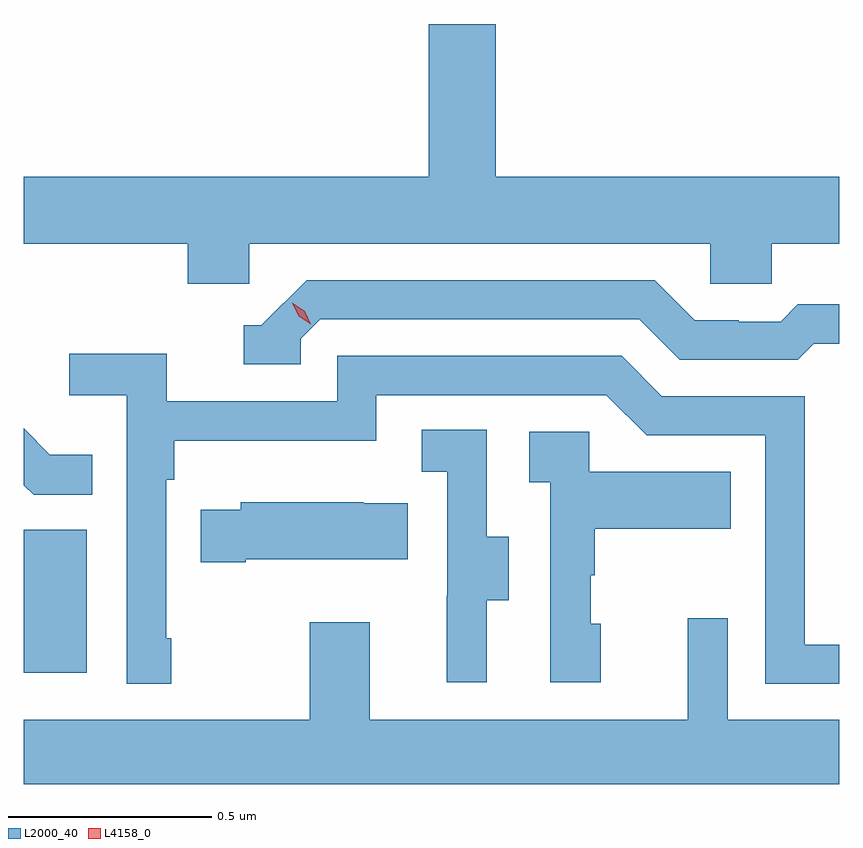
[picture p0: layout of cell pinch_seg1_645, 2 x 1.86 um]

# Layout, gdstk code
import gdstk
lib = gdstk.Library(unit=1e-6, precision=1e-09)
def R(c, l, rs):  # rectangles x0, y0, x1, y1
    for r in rs: c.add(gdstk.rectangle(r[:2], r[2:], *l))
def P(c, l, *ps):  # polygons
    for p in ps: c.add(gdstk.Polygon(p, *l))
L2000_40 = (2000, 40)
L4158_0 = (4158, 0)

pinch_seg1_645 = lib.new_cell('pinch_seg1_645')
R(pinch_seg1_645, L2000_40, [(1099.079,521.376,1099.234,521.727)])
P(pinch_seg1_645, L2000_40, [(1099.632,522.428),(1100.763,522.428),(1100.763,522.33),(1100.913,522.33),(1100.913,522.428),(1101.079,522.428),(1101.079,522.592),(1100.236,522.592),(1100.236,522.967),(1100.072,522.967),(1100.072,522.592),(1099.079,522.592),(1099.079,522.428),(1099.481,522.428),(1099.481,522.33),(1099.632,522.33)],
  [(1099.758,522.195),(1099.806,522.243),(1100.589,522.243),(1100.688,522.144),(1100.977,522.144),(1101.016,522.183),(1101.079,522.183),(1101.079,522.28),(1100.977,522.28),(1100.935,522.237),(1100.832,522.237),(1100.832,522.24),(1100.725,522.24),(1100.626,522.339),(1099.773,522.339),(1099.662,522.228),(1099.619,522.228),(1099.619,522.132),(1099.758,522.132)],
  [(1099.441,521.461),(1099.428,521.461),(1099.428,521.849),(1099.448,521.849),(1099.448,521.945),(1099.944,521.945),(1099.944,522.057),(1100.508,522.057),(1100.607,521.958),(1100.898,521.958),(1100.898,521.349),(1101.079,521.349),(1101.079,521.445),(1100.994,521.445),(1100.994,522.054),(1100.644,522.054),(1100.545,522.153),(1099.848,522.153),(1099.848,522.042),(1099.43,522.042),(1099.43,522.158),(1099.191,522.158),(1099.191,522.056),(1099.332,522.056),(1099.332,521.349),(1099.441,521.349)],
  [(1099.247,521.911),(1099.143,521.911),(1099.079,521.975),(1099.079,521.836),(1099.103,521.812),(1099.247,521.812)],
  [(1100.215,521.554),(1100.269,521.554),(1100.269,521.709),(1100.214,521.709),(1100.214,521.972),(1100.055,521.972),(1100.055,521.869),(1100.118,521.869),(1100.118,521.565),(1100.117,521.565),(1100.117,521.352),(1100.215,521.352)],
  [(1100.494,521.496),(1100.469,521.496),(1100.469,521.615),(1100.479,521.615),(1100.479,521.729),(1100.813,521.729),(1100.813,521.869),(1100.466,521.869),(1100.466,521.967),(1100.319,521.967),(1100.319,521.843),(1100.37,521.843),(1100.37,521.352),(1100.494,521.352)],
  [(1099.624,521.654),(1100.021,521.654),(1100.021,521.791),(1099.913,521.791),(1099.913,521.794),(1099.611,521.794),(1099.611,521.776),(1099.513,521.776),(1099.513,521.647),(1099.624,521.647)],
  [(1101.079,521.26),(1100.805,521.26),(1100.805,521.509),(1100.708,521.509),(1100.708,521.26),(1099.927,521.26),(1099.927,521.5),(1099.78,521.5),(1099.78,521.26),(1099.079,521.26),(1099.079,521.103),(1101.079,521.103)])
P(pinch_seg1_645, L4158_0, [(1099.783,522.23),(1099.753,522.25),(1099.737,522.283),(1099.737,522.283),(1099.737,522.283),(1099.768,522.263),(1099.783,522.23),(1099.783,522.23)])

lib.write_gds('pinch_seg1_645.gds')
